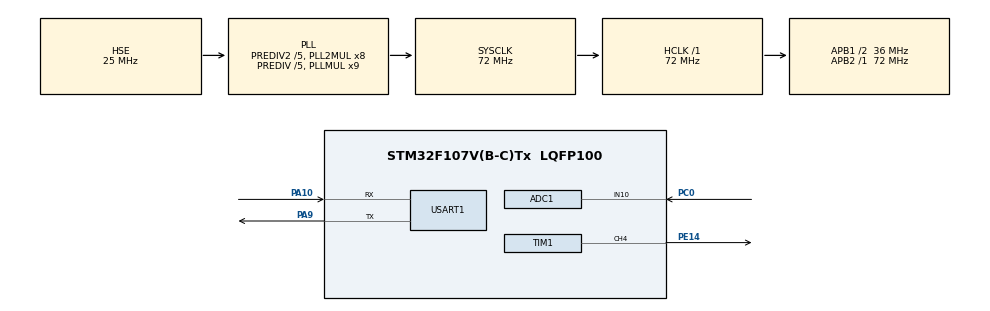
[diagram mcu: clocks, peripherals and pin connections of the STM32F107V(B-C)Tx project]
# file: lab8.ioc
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ADC1.Channel-0\#ChannelRegularConversion=ADC_CHANNEL_10
ADC1.NbrOfConversionFlag=1
ADC1.Rank-0\#ChannelRegularConversion=1
ADC1.SamplingTime-0\#ChannelRegularConversion=ADC_SAMPLETIME_1CYCLE_5
ADC1.master=1
Mcu.Family=STM32F1
Mcu.Name=STM32F107V(B-C)Tx
Mcu.Package=LQFP100
NVIC.PriorityGroup=NVIC_PRIORITYGROUP_4
OSC_IN.Mode=HSE-External-Oscillator
OSC_IN.Signal=RCC_OSC_IN
OSC_OUT.Mode=HSE-External-Oscillator
OSC_OUT.Signal=RCC_OSC_OUT
PA10.Mode=Asynchronous
PA10.Signal=USART1_RX
PA13.Mode=Serial_Wire
PA13.Signal=SYS_JTMS-SWDIO
PA14.Mode=Serial_Wire
PA14.Signal=SYS_JTCK-SWCLK
PA9.Mode=Asynchronous
PA9.Signal=USART1_TX
PC0.Signal=ADCx_IN10
PE14.Signal=S_TIM1_CH4
ProjectManager.HeapSize=0x200
ProjectManager.StackSize=0x400
ProjectManager.TargetToolchain=MDK-ARM V5
RCC.ADCPresc=RCC_ADCPCLK2_DIV8
RCC.AHBFreq_Value=72000000
RCC.APB1CLKDivider=RCC_HCLK_DIV2
RCC.APB1Freq_Value=36000000
RCC.APB1TimFreq_Value=72000000
RCC.APB2Freq_Value=72000000
RCC.APB2TimFreq_Value=72000000
RCC.HCLKFreq_Value=72000000
RCC.HSEDivPLL=RCC_HSE_PREDIV_DIV5
RCC.HSE_VALUE=25000000
RCC.PLLMUL=RCC_PLL_MUL9
RCC.PLLSourceVirtual=RCC_PLLSOURCE_HSE
RCC.Prediv1Source=RCC_PREDIV1_SOURCE_PLL2
RCC.Prediv2=RCC_HSE_PREDIV2_DIV5
RCC.SYSCLKFreq_VALUE=72000000
RCC.SYSCLKSource=RCC_SYSCLKSOURCE_PLLCLK
RCC.USBFreq_Value=48000000
SH.ADCx_IN10.0=ADC1_IN10,IN10
SH.S_TIM1_CH4.0=TIM1_CH4,PWM Generation4 CH4
TIM1.Channel-PWM\ Generation4\ CH4=TIM_CHANNEL_4
TIM1.Period=0xFFFF
TIM1.Prescaler=21
TIM1.Pulse-PWM\ Generation4\ CH4=50
USART1.VirtualMode=VM_ASYNC
board=custom

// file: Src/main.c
/* USER CODE BEGIN Header */
/**
  ******************************************************************************
  * @file           : main.c
  * @brief          : Main program body
  ******************************************************************************
  ** This notice applies to any and all portions of this file
  * that are not between comment pairs USER CODE BEGIN and
  * USER CODE END. Other portions of this file, whether
  * inserted by the user or by software development tools
  * are owned by their respective copyright owners.
  *
  * COPYRIGHT(c) 2019 STMicroelectronics
  *
  * Redistribution and use in source and binary forms, with or without modification,
  * are permitted provided that the following conditions are met:
  *   1. Redistributions of source code must retain the above copyright notice,
  *      this list of conditions and the following disclaimer.
  *   2. Redistributions in binary form must reproduce the above copyright notice,
  *      this list of conditions and the following disclaimer in the documentation
  *      and/or other materials provided with the distribution.
  *   3. Neither the name of STMicroelectronics nor the names of its contributors
  *      may be used to endorse or promote products derived from this software
  *      without specific prior written permission.
  *
  * THIS SOFTWARE IS PROVIDED BY THE COPYRIGHT HOLDERS AND CONTRIBUTORS "AS IS"
  * AND ANY EXPRESS OR IMPLIED WARRANTIES, INCLUDING, BUT NOT LIMITED TO, THE
  * IMPLIED WARRANTIES OF MERCHANTABILITY AND FITNESS FOR A PARTICULAR PURPOSE ARE
  * DISCLAIMED. IN NO EVENT SHALL THE COPYRIGHT HOLDER OR CONTRIBUTORS BE LIABLE
  * FOR ANY DIRECT, INDIRECT, INCIDENTAL, SPECIAL, EXEMPLARY, OR CONSEQUENTIAL
  * DAMAGES (INCLUDING, BUT NOT LIMITED TO, PROCUREMENT OF SUBSTITUTE GOODS OR
  * SERVICES; LOSS OF USE, DATA, OR PROFITS; OR BUSINESS INTERRUPTION) HOWEVER
  * CAUSED AND ON ANY THEORY OF LIABILITY, WHETHER IN CONTRACT, STRICT LIABILITY,
  * OR TORT (INCLUDING NEGLIGENCE OR OTHERWISE) ARISING IN ANY WAY OUT OF THE USE
  * OF THIS SOFTWARE, EVEN IF ADVISED OF THE POSSIBILITY OF SUCH DAMAGE.
  *
  ******************************************************************************
  */
/* USER CODE END Header */

#include "main.h"

/* USER CODE BEGIN Includes */
#include <math.h>
/* USER CODE END Includes */

ADC_HandleTypeDef hadc1;

TIM_HandleTypeDef htim1;

UART_HandleTypeDef huart1;

/* USER CODE BEGIN PV */
//int8_t song[] = {3, 8, 11, 10, 8, 11, 8, 10, 8, 4, 6, 3};
int8_t song[] = {-3, 2, 5, 4, 2, 5, 2, 4, 2, -2, 0, -3};
uint8_t data_receive[1]={'A'};
uint8_t songSize = 12;
/* USER CODE END PV */

void SystemClock_Config(void);
static void MX_GPIO_Init(void);
static void MX_TIM1_Init(void);
static void MX_ADC1_Init(void);
static void MX_USART1_UART_Init(void);

int main(void)
{

  /* MCU Configuration--------------------------------------------------------*/

  /* Reset of all peripherals, Initializes the Flash interface and the Systick. */
  HAL_Init();

  /* Configure the system clock */
  SystemClock_Config();

  /* Initialize all configured peripherals */
  MX_GPIO_Init();
  MX_TIM1_Init();
  MX_ADC1_Init();
  MX_USART1_UART_Init();
  /* USER CODE BEGIN 2 */
	HAL_TIM_PWM_Start(&htim1,TIM_CHANNEL_4);
	HAL_ADCEx_Calibration_Start(&hadc1);
	 uint8_t data[1];
uint8_t data_receive[1];

  /* USER CODE END 2 */

  /* Infinite loop */
  /* USER CODE BEGIN WHILE */
	uint32_t adcReturnValue = 0;
	int8_t n = 0;
	double_t noteFreq = 440;
	uint16_t arr = 1000;
	uint16_t songIndex = 0;
	data[0] = 'A';
  while (1)
  {
		HAL_UART_Transmit(&huart1, data_receive, sizeof(data), HAL_MAX_DELAY);
		data[0] += 1;
		HAL_Delay(1000);
		HAL_UART_Receive(&huart1, data_receive, sizeof(data_receive), HAL_MAX_DELAY);
		data_receive[0] += 1;

				n = data[0]- 36;
				noteFreq = 440*pow(1.059463094359, n);
				arr = (double_t)72000000 / noteFreq / (htim1.Init.Prescaler+ 1) - 1;
				__HAL_TIM_SET_AUTORELOAD(&htim1, arr);//set the new period
				__HAL_TIM_SET_COMPARE(&htim1, TIM_CHANNEL_4, (int)arr/2);//keep 50% duty cycle
				__NOP();

			HAL_Delay(500);

		/*
		HAL_ADC_Start(&hadc1);

		if ( HAL_ADC_PollForConversion(&hadc1,1000) == HAL_OK){
			adcReturnValue = HAL_ADC_GetValue(&hadc1);
			n = floor(adcReturnValue / 42.217) - 36;
			noteFreq = 440*pow(1.059463094359, n);
			arr = (double_t)72000000 / noteFreq / (htim1.Init.Prescaler+ 1) - 1;
			__HAL_TIM_SET_AUTORELOAD(&htim1, arr);//set the new period
			__HAL_TIM_SET_COMPARE(&htim1, TIM_CHANNEL_4, (int)arr/2);//keep 50% duty cycle
		}
		HAL_Delay(100);
		HAL_ADC_Stop(&hadc1);*/
    /* USER CODE END WHILE */

  }
}

void SystemClock_Config(void)
{
  RCC_OscInitTypeDef RCC_OscInitStruct = {0};
  RCC_ClkInitTypeDef RCC_ClkInitStruct = {0};
  RCC_PeriphCLKInitTypeDef PeriphClkInit = {0};

  /**Initializes the CPU, AHB and APB busses clocks
  */
  RCC_OscInitStruct.OscillatorType = RCC_OSCILLATORTYPE_HSE;
  RCC_OscInitStruct.HSEState = RCC_HSE_ON;
  RCC_OscInitStruct.HSEPredivValue = RCC_HSE_PREDIV_DIV5;
  RCC_OscInitStruct.HSIState = RCC_HSI_ON;
  RCC_OscInitStruct.Prediv1Source = RCC_PREDIV1_SOURCE_PLL2;
  RCC_OscInitStruct.PLL.PLLState = RCC_PLL_ON;
  RCC_OscInitStruct.PLL.PLLSource = RCC_PLLSOURCE_HSE;
  RCC_OscInitStruct.PLL.PLLMUL = RCC_PLL_MUL9;
  RCC_OscInitStruct.PLL2.PLL2State = RCC_PLL2_ON;
  RCC_OscInitStruct.PLL2.PLL2MUL = RCC_PLL2_MUL8;
  RCC_OscInitStruct.PLL2.HSEPrediv2Value = RCC_HSE_PREDIV2_DIV5;
  if (HAL_RCC_OscConfig(&RCC_OscInitStruct) != HAL_OK)
  {
    Error_Handler();
  }
  /**Initializes the CPU, AHB and APB busses clocks
  */
  RCC_ClkInitStruct.ClockType = RCC_CLOCKTYPE_HCLK|RCC_CLOCKTYPE_SYSCLK
                              |RCC_CLOCKTYPE_PCLK1|RCC_CLOCKTYPE_PCLK2;
  RCC_ClkInitStruct.SYSCLKSource = RCC_SYSCLKSOURCE_PLLCLK;
  RCC_ClkInitStruct.AHBCLKDivider = RCC_SYSCLK_DIV1;
  RCC_ClkInitStruct.APB1CLKDivider = RCC_HCLK_DIV2;
  RCC_ClkInitStruct.APB2CLKDivider = RCC_HCLK_DIV1;

  if (HAL_RCC_ClockConfig(&RCC_ClkInitStruct, FLASH_LATENCY_2) != HAL_OK)
  {
    Error_Handler();
  }
  PeriphClkInit.PeriphClockSelection = RCC_PERIPHCLK_ADC;
  PeriphClkInit.AdcClockSelection = RCC_ADCPCLK2_DIV8;
  if (HAL_RCCEx_PeriphCLKConfig(&PeriphClkInit) != HAL_OK)
  {
    Error_Handler();
  }
  /**Configure the Systick interrupt time
  */
  __HAL_RCC_PLLI2S_ENABLE();
}

static void MX_ADC1_Init(void)
{

  ADC_ChannelConfTypeDef sConfig = {0};

  /**Common config
  */
  hadc1.Instance = ADC1;
  hadc1.Init.ScanConvMode = ADC_SCAN_DISABLE;
  hadc1.Init.ContinuousConvMode = DISABLE;
  hadc1.Init.DiscontinuousConvMode = DISABLE;
  hadc1.Init.ExternalTrigConv = ADC_SOFTWARE_START;
  hadc1.Init.DataAlign = ADC_DATAALIGN_RIGHT;
  hadc1.Init.NbrOfConversion = 1;
  if (HAL_ADC_Init(&hadc1) != HAL_OK)
  {
    Error_Handler();
  }
  /**Configure Regular Channel
  */
  sConfig.Channel = ADC_CHANNEL_10;
  sConfig.Rank = ADC_REGULAR_RANK_1;
  sConfig.SamplingTime = ADC_SAMPLETIME_1CYCLE_5;
  if (HAL_ADC_ConfigChannel(&hadc1, &sConfig) != HAL_OK)
  {
    Error_Handler();
  }

}

static void MX_TIM1_Init(void)
{

  TIM_MasterConfigTypeDef sMasterConfig = {0};
  TIM_OC_InitTypeDef sConfigOC = {0};
  TIM_BreakDeadTimeConfigTypeDef sBreakDeadTimeConfig = {0};

  htim1.Instance = TIM1;
  htim1.Init.Prescaler = 21;
  htim1.Init.CounterMode = TIM_COUNTERMODE_UP;
  htim1.Init.Period = 0xFFFF;
  htim1.Init.ClockDivision = TIM_CLOCKDIVISION_DIV1;
  htim1.Init.RepetitionCounter = 0;
  htim1.Init.AutoReloadPreload = TIM_AUTORELOAD_PRELOAD_DISABLE;
  if (HAL_TIM_PWM_Init(&htim1) != HAL_OK)
  {
    Error_Handler();
  }
  sMasterConfig.MasterOutputTrigger = TIM_TRGO_RESET;
  sMasterConfig.MasterSlaveMode = TIM_MASTERSLAVEMODE_DISABLE;
  if (HAL_TIMEx_MasterConfigSynchronization(&htim1, &sMasterConfig) != HAL_OK)
  {
    Error_Handler();
  }
  sConfigOC.OCMode = TIM_OCMODE_PWM1;
  sConfigOC.Pulse = 50;
  sConfigOC.OCPolarity = TIM_OCPOLARITY_HIGH;
  sConfigOC.OCFastMode = TIM_OCFAST_DISABLE;
  sConfigOC.OCIdleState = TIM_OCIDLESTATE_RESET;
  sConfigOC.OCNIdleState = TIM_OCNIDLESTATE_RESET;
  if (HAL_TIM_PWM_ConfigChannel(&htim1, &sConfigOC, TIM_CHANNEL_4) != HAL_OK)
  {
    Error_Handler();
  }
  sBreakDeadTimeConfig.OffStateRunMode = TIM_OSSR_DISABLE;
  sBreakDeadTimeConfig.OffStateIDLEMode = TIM_OSSI_DISABLE;
  sBreakDeadTimeConfig.LockLevel = TIM_LOCKLEVEL_OFF;
  sBreakDeadTimeConfig.DeadTime = 0;
  sBreakDeadTimeConfig.BreakState = TIM_BREAK_DISABLE;
  sBreakDeadTimeConfig.BreakPolarity = TIM_BREAKPOLARITY_HIGH;
  sBreakDeadTimeConfig.AutomaticOutput = TIM_AUTOMATICOUTPUT_DISABLE;
  if (HAL_TIMEx_ConfigBreakDeadTime(&htim1, &sBreakDeadTimeConfig) != HAL_OK)
  {
    Error_Handler();
  }
  HAL_TIM_MspPostInit(&htim1);

}

static void MX_USART1_UART_Init(void)
{

  huart1.Instance = USART1;
  huart1.Init.BaudRate = 115200;
  huart1.Init.WordLength = UART_WORDLENGTH_8B;
  huart1.Init.StopBits = UART_STOPBITS_1;
  huart1.Init.Parity = UART_PARITY_NONE;
  huart1.Init.Mode = UART_MODE_TX_RX;
  huart1.Init.HwFlowCtl = UART_HWCONTROL_NONE;
  huart1.Init.OverSampling = UART_OVERSAMPLING_16;
  if (HAL_UART_Init(&huart1) != HAL_OK)
  {
    Error_Handler();
  }

}

static void MX_GPIO_Init(void)
{

  /* GPIO Ports Clock Enable */
  __HAL_RCC_GPIOC_CLK_ENABLE();
  __HAL_RCC_GPIOE_CLK_ENABLE();
  __HAL_RCC_GPIOA_CLK_ENABLE();

}

void Error_Handler(void)
{
}

/************************ (C) COPYRIGHT STMicroelectronics *****END OF FILE****/
